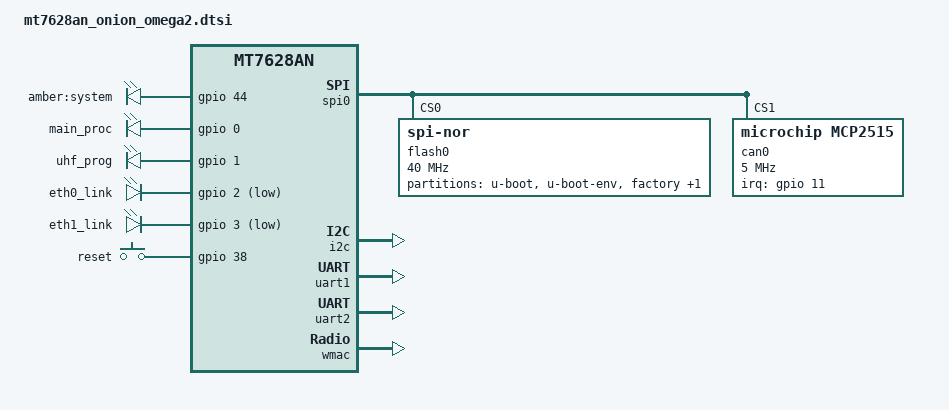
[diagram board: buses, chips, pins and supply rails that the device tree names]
#include "mt7628an.dtsi"

#include <dt-bindings/gpio/gpio.h>
#include <dt-bindings/input/input.h>
#include <dt-bindings/interrupt-controller/irq.h>

/ {
	compatible = "onion,omega2", "mediatek,mt7628an-soc";

	aliases {
		led-boot = &led_system;
		led-failsafe = &led_system;
		led-running = &led_system;
		led-upgrade = &led_system;
	};

	chosen {
		bootargs = "console=ttyS0,115200";
	};

	leds {
		compatible = "gpio-leds";

		led_system: system {
			label = "amber:system";
			gpios = <&gpio 44 GPIO_ACTIVE_HIGH>;
		};
		led_main_proc: main_proc {
			label = "main_proc";
			gpios = <&gpio 0 GPIO_ACTIVE_HIGH>;
			default-state = "off";
		};
		led_uhf_prog: uhf_prog {
			label = "uhf_prog";
			gpios = <&gpio 1 GPIO_ACTIVE_HIGH>;
			default-state = "off";
		};
		led_eth0_link: eth0_link {
			label = "eth0_link";
			gpios = <&gpio 2 GPIO_ACTIVE_LOW>;
			default-state = "off";
		};
		led_eth1_link: eth1_link {
			label = "eth1_link";
			gpios = <&gpio 3 GPIO_ACTIVE_LOW>;
			default-state = "off";
		};
	};

	keys {
		compatible = "gpio-keys";

		reset {
			label = "reset";
			gpios = <&gpio 38 GPIO_ACTIVE_HIGH>;
			linux,code = <KEY_RESTART>;
		};
	};

};

&state_default {
	gpio {
		groups = "gpio";
		function = "gpio";
	};

	perst {
		groups = "perst";
		function = "gpio";
	};

	refclk {
		groups = "refclk";
		function = "gpio";
	};

	i2s {
		groups = "i2s";
		function = "gpio";
	};

	spis {
		groups = "spis";
		function = "gpio";
	};

	wled_kn {
		groups = "wled_kn";
		function = "gpio";
	};

	wled_an {
		groups = "wled_an";
		function = "gpio";
	};

	wdt {
		groups = "wdt";
		function = "gpio";
	};

	pwm0 {
		groups = "pwm0";
		function = "gpio";
	};

	pwm1 {
		groups = "pwm1";
		function = "gpio";
	};
};

&spi0 {
	status = "okay";

	pinctrl-names = "default";
	pinctrl-0 = <&spi_pins>, <&spi_cs1_pins>;

	flash0: flash@0 {
		compatible = "jedec,spi-nor";
		reg = <0>;
		spi-max-frequency = <40000000>;

		partitions {
			compatible = "fixed-partitions";
			#address-cells = <1>;
			#size-cells = <1>;

			partition@0 {
				label = "u-boot";
				reg = <0x0 0x30000>;
				read-only;
			};

			partition@30000 {
				label = "u-boot-env";
				reg = <0x30000 0x10000>;
				read-only;
			};

			factory: partition@40000 {
				label = "factory";
				reg = <0x40000 0x10000>;
				read-only;
			};

			firmware: partition@50000 {
				compatible = "denx,uimage";
				label = "firmware";
			};
		};
	};

	can0: can@1 {
		compatible = "microchip,mcp2515";
		reg = <1>;
        spi-max-frequency = <5000000>;
        clock-frequency  =  <20000000>;
		interrupt-parent = <&gpio>;
		interrupts = <11 IRQ_TYPE_EDGE_FALLING>;
	};
};

&i2c {
	status = "okay";
};

&uart1 {
	status = "okay";
};

&uart2 {
	status = "okay";
};

&ethernet {
	nvmem-cells = <&macaddr_factory_28>;
	nvmem-cell-names = "mac-address";
};

/*&sdhci {
	status = "okay";
	mediatek,cd-low;
};*/

&wmac {
	status = "okay";

	mediatek,mtd-eeprom = <&factory 0x0>;
};

&factory {
	compatible = "nvmem-cells";
	#address-cells = <1>;
	#size-cells = <1>;

	macaddr_factory_28: macaddr@28 {
		reg = <0x28 0x6>;
	};
};
